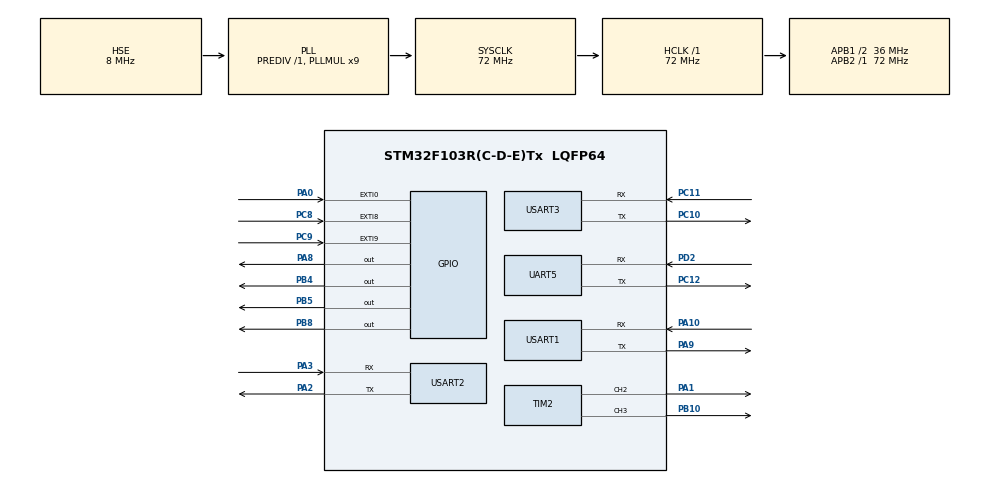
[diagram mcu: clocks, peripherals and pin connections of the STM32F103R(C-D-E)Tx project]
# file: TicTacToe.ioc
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Mcu.Family=STM32F1
NVIC.USART3_IRQn=true\:0\:0\:false\:false\:true\:true\:true
PC10.Signal=USART3_TX
PC12.Signal=UART5_TX
TIM2.Channel-PWM\ Generation2\ CH2=TIM_CHANNEL_2
RCC.SYSCLKSource=RCC_SYSCLKSOURCE_PLLCLK
ProjectManager.StackSize=0x400
PD1-OSC_OUT.Signal=RCC_OSC_OUT
RCC.HCLKFreq_Value=72000000
RCC.APB2TimFreq_Value=72000000
TIM3.Period=7199
RCC.AHBFreq_Value=72000000
RCC.PLLMUL=RCC_PLL_MUL9
PC14-OSC32_IN.Mode=LSE-External-Oscillator
PA14.Mode=Serial_Wire
TIM3.Prescaler=99
PB8.PinState=GPIO_PIN_RESET
PA8.Signal=GPIO_Output
Mcu.Package=LQFP64
USART2.VirtualMode=VM_ASYNC
PA10.Signal=USART1_RX
PC11.Mode=Asynchronous
RCC.APB1TimFreq_Value=72000000
NVIC.USART1_IRQn=true\:0\:0\:false\:false\:true\:true\:true
VP_TIM3_VS_ClockSourceINT.Mode=Internal
PC9.GPIO_ModeDefaultEXTI=GPIO_MODE_IT_FALLING
PA8.PinState=GPIO_PIN_SET
PB4.Signal=GPIO_Output
PA3.Signal=USART2_RX
RCC.PLLSourceVirtual=RCC_PLLSOURCE_HSE
PC15-OSC32_OUT.Mode=LSE-External-Oscillator
TIM3.CounterMode=TIM_COUNTERMODE_DOWN
PD1-OSC_OUT.Mode=HSE-External-Oscillator
PA10.Mode=Asynchronous
PC11.Signal=USART3_RX
PC8.Signal=GPXTI8
PC10.Mode=Asynchronous
TIM2.Channel-Output\ Compare3\ CH3=TIM_CHANNEL_3
PD0-OSC_IN.Signal=RCC_OSC_IN
UART5.VirtualMode=Asynchronous
RCC.APB1CLKDivider=RCC_HCLK_DIV2
PC14-OSC32_IN.Signal=RCC_OSC32_IN
NVIC.USART2_IRQn=true\:0\:0\:false\:false\:true\:true\:true
PA0-WKUP.GPIO_ModeDefaultEXTI=GPIO_MODE_IT_RISING
PA0-WKUP.Signal=GPXTI0
PA13.Signal=SYS_JTMS-SWDIO
PA3.Mode=Asynchronous
SH.S_TIM2_CH2.0=TIM2_CH2,PWM Generation2 CH2
PA9.Mode=Asynchronous
ProjectManager.TargetToolchain=MDK-ARM V5.27
PA9.Signal=USART1_TX
RCC.USBFreq_Value=72000000
PC15-OSC32_OUT.Signal=RCC_OSC32_OUT
PA1.Signal=S_TIM2_CH2
PD0-OSC_IN.Mode=HSE-External-Oscillator
PB10.Signal=S_TIM2_CH3
PD2.Mode=Asynchronous
PC12.Mode=Asynchronous
board=custom
NVIC.TIM3_IRQn=true\:0\:0\:true\:false\:true\:true\:true
RCC.APB2Freq_Value=72000000
VP_TIM2_VS_ClockSourceINT.Mode=Internal
SH.S_TIM2_CH3.0=TIM2_CH3,Output Compare3 CH3
PC9.GPIO_PuPd=GPIO_PULLUP
PA13.Mode=Serial_Wire
Mcu.Name=STM32F103R(C-D-E)Tx
PA2.Signal=USART2_TX
PC8.GPIO_PuPd=GPIO_PULLUP
NVIC.EXTI0_IRQn=true\:0\:0\:false\:false\:true\:true\:true
RCC.SYSCLKFreq_VALUE=72000000
PB5.Signal=GPIO_Output
USART3.VirtualMode=VM_ASYNC
USART1.VirtualMode=VM_ASYNC
NVIC.EXTI9_5_IRQn=true\:0\:0\:false\:false\:true\:true\:true
PA14.Signal=SYS_JTCK-SWCLK
ProjectManager.HeapSize=0x200
NVIC.PriorityGroup=NVIC_PRIORITYGROUP_4
PC8.GPIO_ModeDefaultEXTI=GPIO_MODE_IT_FALLING
PA2.Mode=Asynchronous
PB8.Signal=GPIO_Output
PA0-WKUP.GPIO_PuPd=GPIO_PULLDOWN
PC9.Signal=GPXTI9
PD2.Signal=UART5_RX
RCC.APB1Freq_Value=36000000

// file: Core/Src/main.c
/* USER CODE BEGIN Header */
/**
  ******************************************************************************
  * @file           : main.c
  * @brief          : Main program body
  ******************************************************************************
  * @attention
  *
  * <h2><center>&copy; Copyright (c) 2024 STMicroelectronics.
  * All rights reserved.</center></h2>
  *
  * This software component is licensed by ST under BSD 3-Clause license,
  * the "License"; You may not use this file except in compliance with the
  * License. You may obtain a copy of the License at:
  *                        opensource.org/licenses/BSD-3-Clause
  *
  ******************************************************************************
  */
/* USER CODE END Header */
#include "main.h"
#include "tim.h"
#include "usart.h"
#include "gpio.h"

/* USER CODE BEGIN Includes */
#include "maixcam.h"
#include "oled.h"
#include "moto.h"

/* USER CODE END Includes */

/* USER CODE BEGIN PV */

    uint8_t maixcam_rcvd;

    uint8_t mode1,mode2,mode;
    uint8_t pos=0;

    int num,flag=0;

    int begin;

/* USER CODE END PV */

void SystemClock_Config(void);

int main(void)
{

  /* MCU Configuration--------------------------------------------------------*/

  /* Reset of all peripherals, Initializes the Flash interface and the Systick. */
  HAL_Init();

  /* USER CODE BEGIN Init */
  OLED_Init();
  /* USER CODE END Init */

  /* Configure the system clock */
  SystemClock_Config();

  /* Initialize all configured peripherals */
  MX_GPIO_Init();
  MX_TIM2_Init();
  MX_USART1_UART_Init();
  MX_TIM3_Init();
  MX_UART5_Init();
  MX_USART2_UART_Init();
  MX_USART3_UART_Init();
  /* USER CODE BEGIN 2 */
    HAL_UART_Receive_IT(&huart1, &maixcam_rcvd,1);
    SerialSendString("$x\r\n");
    SerialSendString("G92 X0Y0Z0\r\n"); // jiaozhun
//    SerialSendString("G01 X57Y90 F20000\r\n");
//    moto_qipan_pos(163,201);

  /* USER CODE END 2 */

  /* Infinite loop */
  /* USER CODE BEGIN WHILE */
  while (1)
  {

      if(mode == 1)
      {
          if(begin){
          moto_qipan_pos(qizi_x,qizi_y);
          moto_get();

          moto_qipan_pos(qipan_x,qipan_y);
          moto_put();

//          HAL_Delay(3000);
          moto_position_zero();
          led_out();
          begin=0;
          }
      }
      while(mode == 2)
      {
        if(begin)
        {
          if(flag==0)
          {
              if(num == 0)
              {
                  moto_qipan_pos(qizi_x,qizi_y);
                  moto_get();

                  flag=1;
              }
              else if (num == 1)
              {
                  moto_qipan_pos(qizi_x,qizi_y);
                  moto_get();

                  flag=1;
              }
              else if (num == 2)
              {
                  moto_qipan_pos(qizi_x,qizi_y);
                  moto_get();
                  //elec m on
                  flag=1;
              }
              else if (num == 3)
              {
                  moto_qipan_pos(qizi_x,qizi_y);
                  moto_get();

                  flag=1;
              }
          }
          else
          {
              if(begin)
              {
                moto_qipan_pos(qipan_x,qipan_y);
                moto_put();

                  //led on
                moto_position_zero();
                led_out();
                num++;
                flag=0;
                begin=0;
              }
          }
        }
      }
      while(mode == 3)
      {
        if(begin)
        {
          if(flag == 0)
          {
              if(num == 0)
              {
                  moto_qipan_pos(qizi_x,qizi_y);
                  moto_get();

                  flag=1;
              }
              else if (num == 1)
              {
                  moto_qipan_pos(qizi_x,qizi_y);
                  moto_get();

                  flag=1;
              }
              else if (num == 2)
              {
                  moto_qipan_pos(qizi_x,qizi_y);
                  moto_get();
                  //elec m on
                  flag=1;
              }
              else if (num == 3)
              {
                  moto_qipan_pos(qizi_x,qizi_y);
                  moto_get();

                  flag=1;
              }
          }
          else
          {

                moto_qipan_pos(qipan_x,qipan_y);
                moto_put();

                  //led on
                moto_position_zero();
                led_out();
                num++;
                flag=0;
                begin=0;

          }
        }
      }
      while(mode == 4)
      {
          if(begin)
          {
          if(flag == 0)
          {
              if(num == 0)
              {
                  moto_qipan_pos(qizi_x,qizi_y);
                  moto_get();

                  flag=1;
              }
              else if (num == 1)
              {
                  moto_qipan_pos(qizi_x,qizi_y);
                  moto_get();

                  flag=1;
              }
              else if (num == 2)
              {
                  moto_qipan_pos(qizi_x,qizi_y);
                  moto_get();
                  //elec m on
                  flag=1;
              }
              else if (num == 3)
              {
                  moto_qipan_pos(qizi_x,qizi_y);
                  moto_get();

                  flag=1;
              }
              else if (num == 4)
              {
                  moto_qipan_pos(qizi_x,qizi_y);
                  moto_get();

                  flag=1;
              }
              else if (num == 5)
              {
                  moto_qipan_pos(qizi_x,qizi_y);
                  moto_get();

                  flag=1;
              }
          }
          else
          {
                moto_qipan_pos(qipan_x,qipan_y);
                moto_put();

                  //led on
                moto_position_zero();
                led_out();
                num++;
                flag=0;
                begin=0;
          }
          }

      }
      while(mode==5)
          {
          if(begin)
          {
          if(flag == 0)
          {
              if(num == 0)
              {
                  moto_qipan_pos(qizi_x,qizi_y);
                  moto_get();

                  flag=1;
              }
              else if (num == 1)
              {
                  moto_qipan_pos(qizi_x,qizi_y);
                  moto_get();

                  flag=1;
              }
              else if (num == 2)
              {
                  moto_qipan_pos(qizi_x,qizi_y);
                  moto_get();
                  //elec m on
                  flag=1;
              }
              else if (num == 3)
              {
                  moto_qipan_pos(qizi_x,qizi_y);
                  moto_get();

                  flag=1;
              }
              else if (num == 4)
              {
                  moto_qipan_pos(qizi_x,qizi_y);
                  moto_get();

                  flag=1;
              }
              else if (num == 5)
              {
                  moto_qipan_pos(qizi_x,qizi_y);
                  moto_get();

                  flag=1;
              }
          }
          else
          {
                moto_qipan_pos(qipan_x,qipan_y);
                moto_put();

                  //led on
                moto_position_zero();
                led_out();
                num++;
                flag=0;
                begin=0;
          }
          }

      }

    /* USER CODE END WHILE */

  }
}

void SystemClock_Config(void)
{
  RCC_OscInitTypeDef RCC_OscInitStruct = {0};
  RCC_ClkInitTypeDef RCC_ClkInitStruct = {0};

  /** Initializes the RCC Oscillators according to the specified parameters
  * in the RCC_OscInitTypeDef structure.
  */
  RCC_OscInitStruct.OscillatorType = RCC_OSCILLATORTYPE_HSE;
  RCC_OscInitStruct.HSEState = RCC_HSE_ON;
  RCC_OscInitStruct.HSEPredivValue = RCC_HSE_PREDIV_DIV1;
  RCC_OscInitStruct.HSIState = RCC_HSI_ON;
  RCC_OscInitStruct.PLL.PLLState = RCC_PLL_ON;
  RCC_OscInitStruct.PLL.PLLSource = RCC_PLLSOURCE_HSE;
  RCC_OscInitStruct.PLL.PLLMUL = RCC_PLL_MUL9;
  if (HAL_RCC_OscConfig(&RCC_OscInitStruct) != HAL_OK)
  {
    Error_Handler();
  }
  /** Initializes the CPU, AHB and APB buses clocks
  */
  RCC_ClkInitStruct.ClockType = RCC_CLOCKTYPE_HCLK|RCC_CLOCKTYPE_SYSCLK
                              |RCC_CLOCKTYPE_PCLK1|RCC_CLOCKTYPE_PCLK2;
  RCC_ClkInitStruct.SYSCLKSource = RCC_SYSCLKSOURCE_PLLCLK;
  RCC_ClkInitStruct.AHBCLKDivider = RCC_SYSCLK_DIV1;
  RCC_ClkInitStruct.APB1CLKDivider = RCC_HCLK_DIV2;
  RCC_ClkInitStruct.APB2CLKDivider = RCC_HCLK_DIV1;

  if (HAL_RCC_ClockConfig(&RCC_ClkInitStruct, FLASH_LATENCY_2) != HAL_OK)
  {
    Error_Handler();
  }
}

/* USER CODE BEGIN 4 */
void HAL_GPIO_EXTI_Callback(uint16_t GPIO_Pin)
{
    if(GPIO_Pin == GPIO_PIN_0)
    {
       HAL_TIM_Base_Start_IT(&htim3);
    }
    if(GPIO_Pin == GPIO_PIN_8)
    {
        HAL_TIM_Base_Start_IT(&htim3);
    }

    if(GPIO_Pin == GPIO_PIN_9)
    {
        HAL_TIM_Base_Start_IT(&htim3);
    }
}

void HAL_UART_RxCpltCallback(UART_HandleTypeDef *huart)
{
    int8_t temp1;
    if (huart == &huart1)
		{
            temp1=maixcam_rcvd;
            Maixcam_Receive_Data(temp1);
			HAL_UART_Receive_IT(&huart1, &maixcam_rcvd, 1);
		}
}

void HAL_TIM_PeriodElapsedCallback(TIM_HandleTypeDef *htim)
{
  if(htim==(&htim3))
  {
       HAL_TIM_Base_Stop_IT(&htim3);

       if(HAL_GPIO_ReadPin(GPIOA,GPIO_PIN_0)==1)
       {
           pos+=1;
           if(pos>10)
           {
            pos=0;
           }
           OLED_ShowNum(2,1,pos,3);
       }
       if(HAL_GPIO_ReadPin(GPIOC,GPIO_PIN_8)==0)
       {
            begin=1;
            OLED_ShowNum(3,1,begin,3);
       }
       if(HAL_GPIO_ReadPin(GPIOC,GPIO_PIN_9)==0)
       {
            mode++;
           num=0;
    OLED_ShowSignedNum(1,1,mode,3);
       }

  }

}

/* USER CODE END 4 */

void Error_Handler(void)
{
  __disable_irq();
  while (1)
  {
  }
}

/************************ (C) COPYRIGHT STMicroelectronics *****END OF FILE****/
